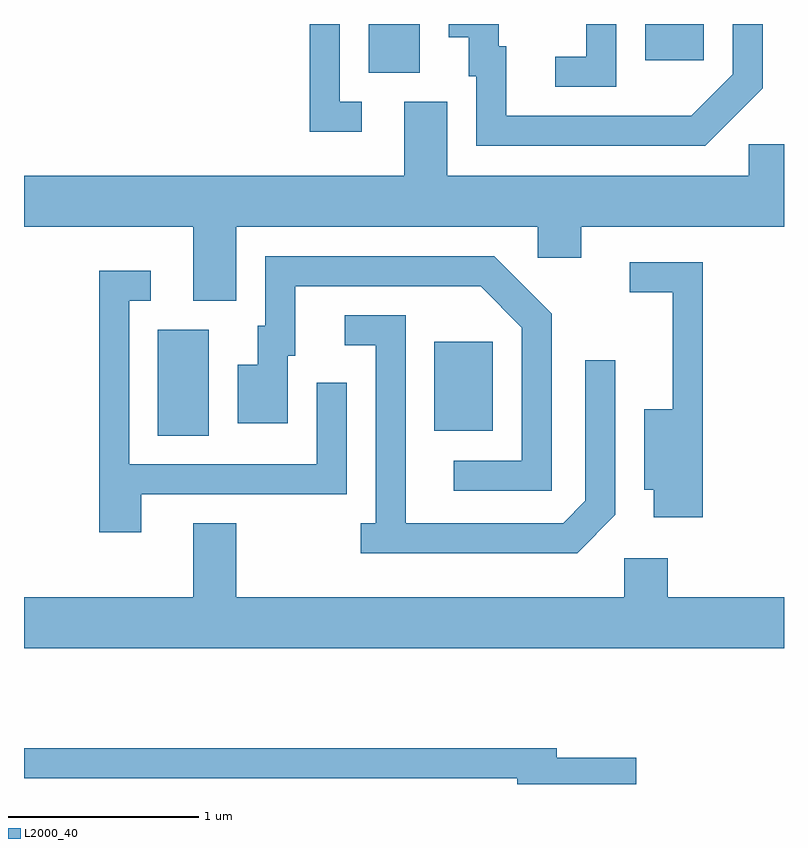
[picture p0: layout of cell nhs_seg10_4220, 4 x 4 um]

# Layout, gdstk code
import gdstk
lib = gdstk.Library(unit=1e-6, precision=1e-09)
def R(c, l, rs):  # rectangles x0, y0, x1, y1
    for r in rs: c.add(gdstk.rectangle(r[:2], r[2:], *l))
def P(c, l, *ps):  # polygons
    for p in ps: c.add(gdstk.Polygon(p, *l))
L2000_40 = (2000, 40)

nhs_seg10_4220 = lib.new_cell('nhs_seg10_4220')
R(nhs_seg10_4220, L2000_40, [(310.316,2128.356,310.584,2128.914), (311.771,2128.381,312.079,2128.849), (311.426,2130.266,311.694,2130.522), (312.881,2130.331,313.189,2130.522)])
P(nhs_seg10_4220, L2000_40, [(312.729,2130.522),(312.571,2130.522),(312.571,2130.349),(312.408,2130.349),(312.408,2130.191),(312.729,2130.191)],
  [(313.499,2130.184),(313.499,2130.522),(313.341,2130.522),(313.341,2130.257),(313.124,2130.039),(312.149,2130.039),(312.149,2130.404),(312.109,2130.404),(312.109,2130.522),(311.846,2130.522),(311.846,2130.451),(311.951,2130.451),(311.951,2130.246),(311.991,2130.246),(311.991,2129.881),(313.197,2129.881)],
  [(311.388,2130.114),(311.274,2130.114),(311.274,2130.522),(311.116,2130.522),(311.116,2129.956),(311.388,2129.956)],
  [(310.729,2129.456),(312.316,2129.456),(312.316,2129.291),(312.544,2129.291),(312.544,2129.456),(313.611,2129.456),(313.611,2129.889),(313.426,2129.889),(313.426,2129.724),(311.839,2129.724),(311.839,2130.114),(311.611,2130.114),(311.611,2129.724),(309.611,2129.724),(309.611,2129.456),(310.501,2129.456),(310.501,2129.066),(310.729,2129.066)],
  [(312.389,2128.997),(312.087,2129.299),(310.881,2129.299),(310.881,2128.934),(310.841,2128.934),(310.841,2128.729),(310.736,2128.729),(310.736,2128.421),(310.999,2128.421),(310.999,2128.776),(311.039,2128.776),(311.039,2129.141),(312.014,2129.141),(312.231,2128.924),(312.231,2128.224),(311.873,2128.224),(311.873,2128.066),(312.389,2128.066)],
  [(313.184,2129.269),(312.798,2129.269),(312.798,2129.111),(313.026,2129.111),(313.026,2128.494),(312.876,2128.494),(312.876,2128.071),(312.926,2128.071),(312.926,2127.926),(313.184,2127.926)],
  [(310.229,2128.046),(311.309,2128.046),(311.309,2128.633),(311.151,2128.633),(311.151,2128.204),(310.164,2128.204),(310.164,2129.066),(310.278,2129.066),(310.278,2129.224),(310.006,2129.224),(310.006,2127.846),(310.229,2127.846)],
  [(312.724,2127.939),(312.724,2128.753),(312.566,2128.753),(312.566,2128.012),(312.449,2127.894),(311.619,2127.894),(311.619,2128.989),(311.298,2128.989),(311.298,2128.831),(311.461,2128.831),(311.461,2127.894),(311.383,2127.894),(311.383,2127.736),(312.522,2127.736)],
  [(312.771,2127.709),(312.771,2127.504),(310.729,2127.504),(310.729,2127.894),(310.501,2127.894),(310.501,2127.504),(309.611,2127.504),(309.611,2127.236),(313.611,2127.236),(313.611,2127.504),(312.999,2127.504),(312.999,2127.709)],
  [(312.834,2126.659),(312.414,2126.659),(312.414,2126.709),(309.611,2126.709),(309.611,2126.551),(312.206,2126.551),(312.206,2126.522),(312.834,2126.522)])

lib.write_gds('nhs_seg10_4220.gds')
